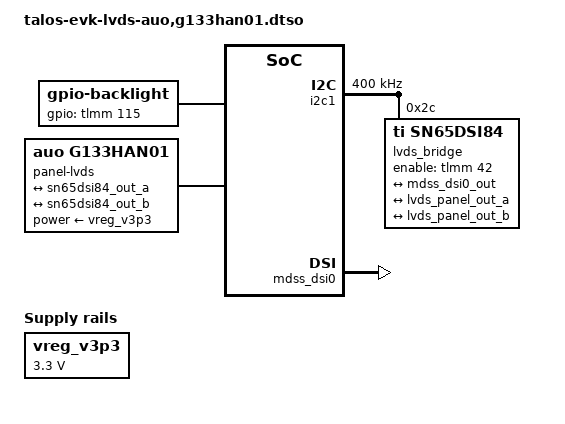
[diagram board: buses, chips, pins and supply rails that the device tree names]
// SPDX-License-Identifier: BSD-3-Clause
/*
 * Copyright (c) Qualcomm Technologies, Inc. and/or its subsidiaries.
 */
/dts-v1/;
/plugin/;

#include <dt-bindings/gpio/gpio.h>

&{/} {
	backlight: backlight {
		compatible = "gpio-backlight";
		gpios = <&tlmm 115 GPIO_ACTIVE_HIGH>;
		default-on;
	};

	panel-lvds {
		compatible = "auo,g133han01";
		power-supply = <&vreg_v3p3>;

		ports {
			#address-cells = <1>;
			#size-cells = <0>;

			/* LVDS A (Odd pixels) */
			port@0 {
				reg = <0>;
				dual-lvds-odd-pixels;

				lvds_panel_out_a: endpoint {
					remote-endpoint = <&sn65dsi84_out_a>;
				};
			};

			/* LVDS B (Even pixels) */
			port@1 {
				reg = <1>;
				dual-lvds-even-pixels;

				lvds_panel_out_b: endpoint {
					remote-endpoint = <&sn65dsi84_out_b>;
				};
			};
		};
	};

	vreg_v3p3: regulator-v3p3 {
		compatible = "regulator-fixed";
		regulator-name = "vdd-3v3";
		regulator-min-microvolt = <3300000>;
		regulator-max-microvolt = <3300000>;
	};
};

&hdmi_connector {
	status = "disabled";
};

&i2c1 {
	clock-frequency = <400000>;
	status = "okay";

	#address-cells = <1>;
	#size-cells = <0>;

	hdmi_bridge: bridge@3d {
		reg = <0x3d>;
		status = "disabled";
	};

	lvds_bridge: bridge@2c {
		compatible = "ti,sn65dsi84";
		reg = <0x2c>;
		enable-gpios = <&tlmm 42 GPIO_ACTIVE_HIGH>;

		ports {
			#address-cells = <1>;
			#size-cells = <0>;

			port@0 {
				reg = <0>;

				sn65dsi84_in: endpoint {
					data-lanes = <1 2 3 4>;
					remote-endpoint = <&mdss_dsi0_out>;
				};
			};

			port@2 {
				reg = <2>;

				sn65dsi84_out_a: endpoint {
					data-lanes = <1 2 3 4>;
					remote-endpoint = <&lvds_panel_out_a>;
				};
			};

			port@3 {
				reg = <3>;

				sn65dsi84_out_b: endpoint {
					data-lanes = <1 2 3 4>;
					remote-endpoint = <&lvds_panel_out_b>;
				};
			};
		};
	};
};

&mdss_dsi0 {
	vdda-supply = <&vreg_l11a>;

	status = "okay";
};

&mdss_dsi0_out {
	remote-endpoint = <&sn65dsi84_in>;
	data-lanes = <0 1 2 3>;
};

&tlmm {
	lcd_bklt_en: lcd-bklt-en-state {
		pins = "gpio115";
		function = "gpio";
		bias-disable;
	};
};
